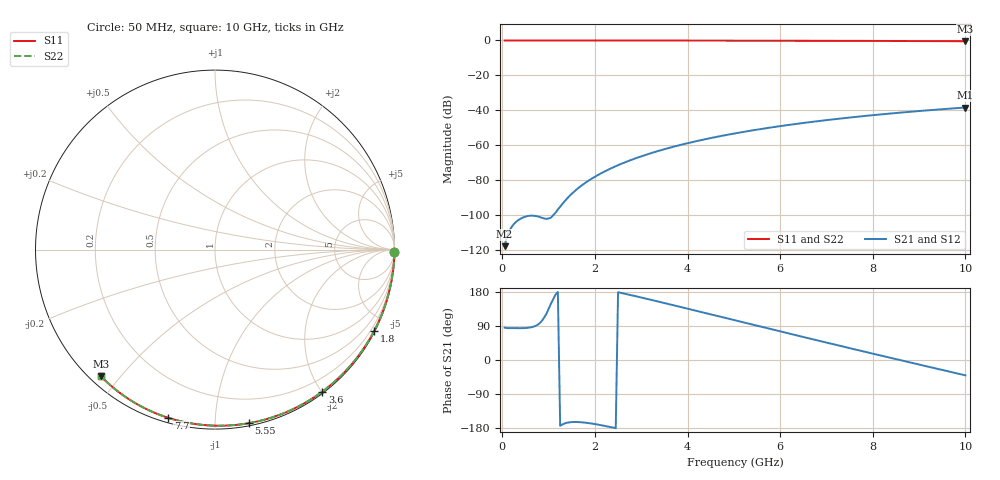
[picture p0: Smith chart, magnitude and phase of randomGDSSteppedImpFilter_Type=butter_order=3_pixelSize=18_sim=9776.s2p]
! freq	dB(S11)	phase(S11)	dB(S12)	phase(S12)
!  dB(S21)	phase(S21)	dB(S22)	phase(S22)
!S-par simulation data
#  GHz  S  DB  R 50
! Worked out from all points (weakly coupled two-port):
!   200 points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, 50 MHz to 10 GHz, reference 50 ohm
!   highest |S21| = -38.35 dB at 10 GHz (marker M1); lowest = -117.7 dB at 50 MHz (marker M2)
!   lowest |S11| = -0.4 dB at 10 GHz (marker M3), VSWR 38.90, Z = 1.54 - j22.2 ohm
!   |S11| at or under -10 dB: nowhere
!   |S22| runs from -0.4 to 0.0 dB; largest |S21 - S12| = 0
!   S11 on the Smith chart (normalised r, x): 50 MHz: open; 1.8 GHz: 0.04, -4.16; 3.6 GHz: 0.02, -2.01; 5.55 GHz: 0.02, -1.21; 7.7 GHz: 0.02, -0.76; 10 GHz: 0.03, -0.44
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0.05  -0.00 -0.8  -117.66 85.4  -117.66 85.4  -0.00 -0.8
0.9  -0.02 -13.7  -101.78 111.3  -101.78 111.3  -0.02 -13.7
1.75  -0.03 -26.3  -82.25 -164.8  -82.25 -164.8  -0.03 -26.3
1.8  -0.03 -27.0  -81.31 -165.5  -81.31 -165.5  -0.03 -27.0
1.85  -0.04 -27.8  -80.42 -166.3  -80.42 -166.3  -0.04 -27.8
1.9  -0.04 -28.5  -79.56 -167.1  -79.56 -167.1  -0.04 -28.5
2.05  -0.04 -30.7  -77.19 -170.1  -77.19 -170.1  -0.04 -30.7
2.25  -0.04 -33.6  -74.39 -174.8  -74.39 -174.8  -0.04 -33.6
2.45  -0.05 -36.5  -71.91 -179.9  -71.91 -179.9  -0.05 -36.5
2.65  -0.05 -39.4  -69.69 174.8  -69.69 174.8  -0.05 -39.4
3  -0.06 -44.4  -66.28 164.9  -66.28 164.9  -0.06 -44.4
3.4  -0.07 -50.1  -62.95 153.3  -62.95 153.3  -0.07 -50.1
3.6  -0.07 -52.9  -61.46 147.4  -61.46 147.4  -0.07 -52.9
4.3  -0.09 -62.5  -56.95 126.5  -56.95 126.5  -0.09 -62.5
5.05  -0.11 -72.5  -53.03 104.0  -53.03 104.0  -0.11 -72.5
5.55  -0.13 -79.0  -50.80 89.0  -50.80 89.0  -0.13 -79.0
6.1  -0.15 -86.0  -48.62 72.6  -48.62 72.6  -0.15 -86.0
6.7  -0.18 -93.4  -46.52 54.8  -46.52 54.8  -0.18 -93.4
7.7  -0.24 -105.5  -43.53 25.5  -43.53 25.5  -0.24 -105.5
8.35  -0.29 -113.1  -41.86 6.6  -41.86 6.6  -0.29 -113.1
9.15  -0.36 -122.3  -40.04 -16.3  -40.04 -16.3  -0.36 -122.3
10  -0.45 -132.0  -38.35 -40.5  -38.35 -40.5  -0.45 -132.0
